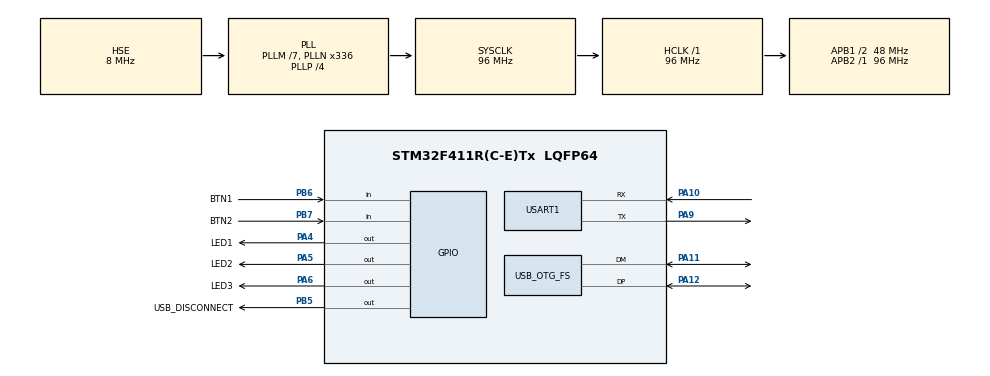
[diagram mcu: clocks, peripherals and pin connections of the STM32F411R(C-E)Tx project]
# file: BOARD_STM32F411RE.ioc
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FATFS._FS_LOCK=1
FATFS._FS_NORTC=1
FATFS._NORTC_MDAY=1
FATFS._NORTC_MON=1
FATFS._NORTC_YEAR=2025
FATFS._STRF_ENCODE=0
FATFS._USE_LABEL=1
FATFS._USE_STRFUNC=1
Mcu.Family=STM32F4
Mcu.Name=STM32F411R(C-E)Tx
Mcu.Package=LQFP64
NVIC.OTG_FS_IRQn=true\:0\:0\:false\:false\:true\:false\:true\:true
NVIC.PriorityGroup=NVIC_PRIORITYGROUP_4
PA10.Mode=Asynchronous
PA10.Signal=USART1_RX
PA11.Mode=Device_Only
PA11.Signal=USB_OTG_FS_DM
PA12.Mode=Device_Only
PA12.Signal=USB_OTG_FS_DP
PA13.Mode=Serial_Wire
PA13.Signal=SYS_JTMS-SWDIO
PA14.Mode=Serial_Wire
PA14.Signal=SYS_JTCK-SWCLK
PA4.GPIO_Label=LED1
PA4.Signal=GPIO_Output
PA5.GPIO_Label=LED2
PA5.Signal=GPIO_Output
PA6.GPIO_Label=LED3
PA6.Signal=GPIO_Output
PA9.Mode=Asynchronous
PA9.Signal=USART1_TX
PB5.GPIO_Label=USB_DISCONNECT
PB5.Signal=GPIO_Output
PB6.GPIO_Label=BTN1
PB6.Signal=GPIO_Input
PB7.GPIO_Label=BTN2
PB7.Signal=GPIO_Input
PH0\ -\ OSC_IN.Mode=HSE-External-Oscillator
PH0\ -\ OSC_IN.Signal=RCC_OSC_IN
PH1\ -\ OSC_OUT.Mode=HSE-External-Oscillator
PH1\ -\ OSC_OUT.Signal=RCC_OSC_OUT
ProjectManager.HeapSize=0x400
ProjectManager.StackSize=0x800
ProjectManager.TargetToolchain=EWARM V8.50
RCC.48MHZClocksFreq_Value=48000000.00000001
RCC.AHBFreq_Value=96000000.00000001
RCC.APB1CLKDivider=RCC_HCLK_DIV2
RCC.APB1Freq_Value=48000000.00000001
RCC.APB1TimFreq_Value=96000000.00000001
RCC.APB2Freq_Value=96000000.00000001
RCC.APB2TimFreq_Value=96000000.00000001
RCC.CortexFreq_Value=96000000.00000001
RCC.HCLKFreq_Value=96000000.00000001
RCC.HSE_VALUE=8000000
RCC.HSI_VALUE=16000000
RCC.LSE_VALUE=32768
RCC.PLLM=7
RCC.PLLN=336
RCC.PLLP=RCC_PLLP_DIV4
RCC.PLLQ=8
RCC.RCC_RTC_Clock_Source=RCC_RTCCLKSOURCE_HSE_DIV8
RCC.RCC_RTC_Clock_SourceVirtual=RCC_RTCCLKSOURCE_LSE
RCC.RCC_RTC_Clock_Source_FROM_HSE=RCC_RTCCLKSOURCE_HSE_DIV8
RCC.SYSCLKFreq_VALUE=96000000.00000001
RCC.SYSCLKSource=RCC_SYSCLKSOURCE_PLLCLK
RCC.VCOOutputFreq_Value=384000000.00000006
USART1.VirtualMode=VM_ASYNC
USB_DEVICE.CLASS_NAME_FS=MSC
USB_DEVICE.VirtualMode=Msc
USB_DEVICE.VirtualModeFS=Msc_FS
USB_OTG_FS.VirtualMode=Device_Only
VP_FATFS_VS_Generic.Mode=User_defined
VP_USB_DEVICE_VS_USB_DEVICE_MSC_FS.Mode=MSC_FS
board=custom

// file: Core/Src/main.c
/* USER CODE BEGIN Header */
/**
  ******************************************************************************
  * @file           : main.c
  * @brief          : Main program body
  ******************************************************************************
  * @attention
  *
  * <h2><center>&copy; Copyright (c) 2021 STMicroelectronics.
  * All rights reserved.</center></h2>
  *
  * This software component is licensed by ST under Ultimate Liberty license
  * SLA0044, the "License"; You may not use this file except in compliance with
  * the License. You may obtain a copy of the License at:
  *                             www.st.com/SLA0044
  *
  ******************************************************************************
  */
/* USER CODE END Header */
#include "main.h"
#include "fatfs.h"
#include "usb_device.h"

UART_HandleTypeDef huart1;

/* USER CODE BEGIN PV */
FATFS	fs;
FRESULT	fres;
FIL	file;
BYTE	workBuf[_MAX_SS];
/* USER CODE END PV */

void SystemClock_Config(void);
static void MX_GPIO_Init(void);
static void MX_USART1_UART_Init(void);

/* USER CODE BEGIN 0 */
int MyLowLevelPutchar(int x) // отправка байта в UART
{
#ifdef SEGGER_RTT_H
	SEGGER_RTT_PutChar(0, x);
#endif
  	HAL_UART_Transmit(&huart1, (uint8_t *)&x, 1, 0xFFFF);
	return(x);
}

int MyLowLevelGetchar() // получение байта из UART
{
  	uint8_t x;
	do
	{
	  	HAL_UART_Receive(&huart1, (uint8_t *)&x, 1, 0xFFFF);
	}
	while(x == 0);
	return((int)x);
}
/* USER CODE END 0 */

int main(void)
{

  /* MCU Configuration--------------------------------------------------------*/

  /* Reset of all peripherals, Initializes the Flash interface and the Systick. */
  HAL_Init();

  /* Configure the system clock */
  SystemClock_Config();

  /* Initialize all configured peripherals */
  MX_GPIO_Init();
  MX_USART1_UART_Init();
  MX_USB_DEVICE_Init();
  MX_FATFS_Init();
  /* USER CODE BEGIN 2 */
  	HAL_GPIO_WritePin(LED3_GPIO_Port, LED3_Pin, GPIO_PIN_SET);
  	LOG_START();
	printf("\r\n (c) RusikOk %s %s \r\n", __DATE__, __TIME__);	 // приветствие

	fres = f_mount(&fs, "", 1);
	if(FR_NO_FILESYSTEM == fres)
		fres = f_mkfs("", FM_FAT, 0, workBuf, _MAX_SS);

	fres = f_mount(&fs, "", 1);
	fres = f_setlabel("VIY 51");

	fres = f_open(&file, "HOME.URL", FA_CREATE_NEW | FA_WRITE); // создаем новый файл
	f_puts("[InternetShortcut]\r\nIDList=\r\nURL=https://viy.ua\r\n", &file); // записываем в файл данные
	fres = f_close(&file); // закрываем файл

	fres = f_open(&file, "README.TXT", FA_CREATE_NEW | FA_WRITE); // создаем новый файл
	f_puts("http://komon.systems/s/?regSD\r\n", &file); // записываем в файл данные
	f_puts("123456789", &file); // записываем в файл данные
	fres = f_close(&file); // закрываем файл

	f_mount(0, "", 0);

	HAL_GPIO_WritePin(LED3_GPIO_Port, LED3_Pin, GPIO_PIN_RESET);
  /* USER CODE END 2 */

  /* Infinite loop */
  while (1)
  {

  }
}

void SystemClock_Config(void)
{
  RCC_OscInitTypeDef RCC_OscInitStruct = {0};
  RCC_ClkInitTypeDef RCC_ClkInitStruct = {0};

  /** Configure the main internal regulator output voltage
  */
  __HAL_RCC_PWR_CLK_ENABLE();
  __HAL_PWR_VOLTAGESCALING_CONFIG(PWR_REGULATOR_VOLTAGE_SCALE1);

  /** Initializes the RCC Oscillators according to the specified parameters
  * in the RCC_OscInitTypeDef structure.
  */
  RCC_OscInitStruct.OscillatorType = RCC_OSCILLATORTYPE_HSE;
  RCC_OscInitStruct.HSEState = RCC_HSE_ON;
  RCC_OscInitStruct.PLL.PLLState = RCC_PLL_ON;
  RCC_OscInitStruct.PLL.PLLSource = RCC_PLLSOURCE_HSE;
  RCC_OscInitStruct.PLL.PLLM = 7;
  RCC_OscInitStruct.PLL.PLLN = 336;
  RCC_OscInitStruct.PLL.PLLP = RCC_PLLP_DIV4;
  RCC_OscInitStruct.PLL.PLLQ = 8;
  if (HAL_RCC_OscConfig(&RCC_OscInitStruct) != HAL_OK)
  {
    Error_Handler();
  }

  /** Initializes the CPU, AHB and APB buses clocks
  */
  RCC_ClkInitStruct.ClockType = RCC_CLOCKTYPE_HCLK|RCC_CLOCKTYPE_SYSCLK
                              |RCC_CLOCKTYPE_PCLK1|RCC_CLOCKTYPE_PCLK2;
  RCC_ClkInitStruct.SYSCLKSource = RCC_SYSCLKSOURCE_PLLCLK;
  RCC_ClkInitStruct.AHBCLKDivider = RCC_SYSCLK_DIV1;
  RCC_ClkInitStruct.APB1CLKDivider = RCC_HCLK_DIV2;
  RCC_ClkInitStruct.APB2CLKDivider = RCC_HCLK_DIV1;

  if (HAL_RCC_ClockConfig(&RCC_ClkInitStruct, FLASH_LATENCY_3) != HAL_OK)
  {
    Error_Handler();
  }
}

static void MX_USART1_UART_Init(void)
{

  huart1.Instance = USART1;
  huart1.Init.BaudRate = 115200;
  huart1.Init.WordLength = UART_WORDLENGTH_8B;
  huart1.Init.StopBits = UART_STOPBITS_1;
  huart1.Init.Parity = UART_PARITY_NONE;
  huart1.Init.Mode = UART_MODE_TX_RX;
  huart1.Init.HwFlowCtl = UART_HWCONTROL_NONE;
  huart1.Init.OverSampling = UART_OVERSAMPLING_16;
  if (HAL_UART_Init(&huart1) != HAL_OK)
  {
    Error_Handler();
  }

}

static void MX_GPIO_Init(void)
{
  GPIO_InitTypeDef GPIO_InitStruct = {0};

  /* GPIO Ports Clock Enable */
  __HAL_RCC_GPIOH_CLK_ENABLE();
  __HAL_RCC_GPIOA_CLK_ENABLE();
  __HAL_RCC_GPIOB_CLK_ENABLE();

  /*Configure GPIO pin Output Level */
  HAL_GPIO_WritePin(GPIOA, LED1_Pin|LED2_Pin|LED3_Pin, GPIO_PIN_RESET);

  /*Configure GPIO pin Output Level */
  HAL_GPIO_WritePin(USB_DISCONNECT_GPIO_Port, USB_DISCONNECT_Pin, GPIO_PIN_RESET);

  /*Configure GPIO pins : LED1_Pin LED2_Pin LED3_Pin */
  GPIO_InitStruct.Pin = LED1_Pin|LED2_Pin|LED3_Pin;
  GPIO_InitStruct.Mode = GPIO_MODE_OUTPUT_PP;
  GPIO_InitStruct.Pull = GPIO_NOPULL;
  GPIO_InitStruct.Speed = GPIO_SPEED_FREQ_LOW;
  HAL_GPIO_Init(GPIOA, &GPIO_InitStruct);

  /*Configure GPIO pin : USB_DISCONNECT_Pin */
  GPIO_InitStruct.Pin = USB_DISCONNECT_Pin;
  GPIO_InitStruct.Mode = GPIO_MODE_OUTPUT_PP;
  GPIO_InitStruct.Pull = GPIO_NOPULL;
  GPIO_InitStruct.Speed = GPIO_SPEED_FREQ_LOW;
  HAL_GPIO_Init(USB_DISCONNECT_GPIO_Port, &GPIO_InitStruct);

  /*Configure GPIO pins : BTN1_Pin BTN2_Pin */
  GPIO_InitStruct.Pin = BTN1_Pin|BTN2_Pin;
  GPIO_InitStruct.Mode = GPIO_MODE_INPUT;
  GPIO_InitStruct.Pull = GPIO_NOPULL;
  HAL_GPIO_Init(GPIOB, &GPIO_InitStruct);

}

void Error_Handler(void)
{
  __disable_irq();
  while (1)
  {
  }
}
